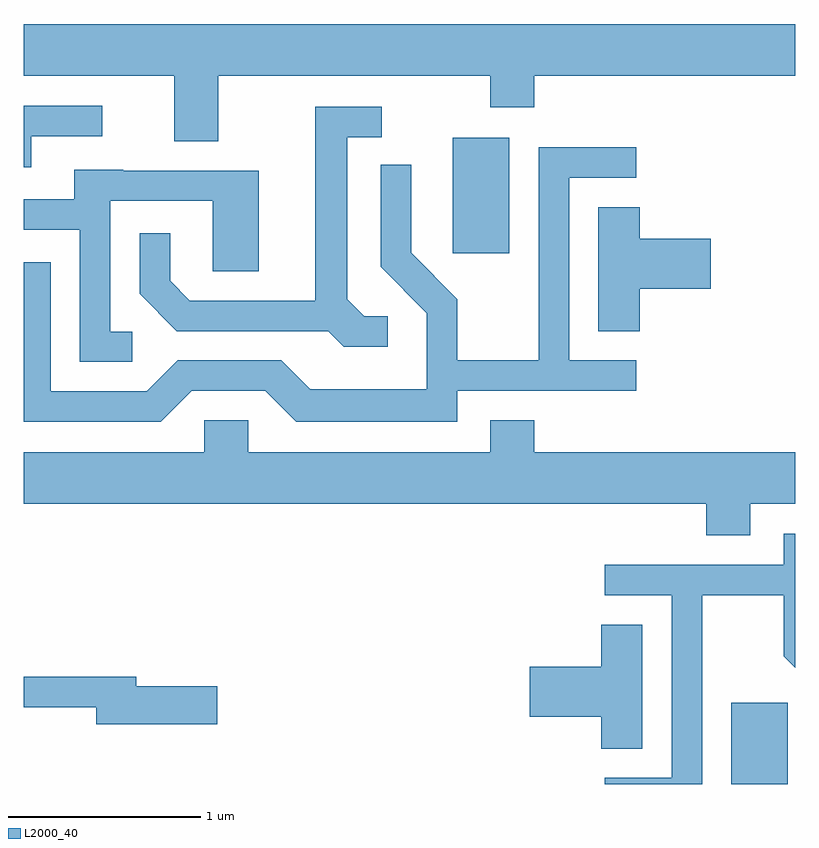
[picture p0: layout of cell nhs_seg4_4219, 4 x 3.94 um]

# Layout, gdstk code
import gdstk
lib = gdstk.Library(unit=1e-6, precision=1e-09)
def R(c, l, rs):  # rectangles x0, y0, x1, y1
    for r in rs: c.add(gdstk.rectangle(r[:2], r[2:], *l))
def P(c, l, *ps):  # polygons
    for p in ps: c.add(gdstk.Polygon(p, *l))
L2000_40 = (2000, 40)

nhs_seg4_4219 = lib.new_cell('nhs_seg4_4219')
R(nhs_seg4_4219, L2000_40, [(313.281,1259.982,313.574,1260.404), (311.836,1262.736,312.129,1263.334)])
P(nhs_seg4_4219, L2000_40, [(310.619,1263.656),(312.031,1263.656),(312.031,1263.491),(312.259,1263.491),(312.259,1263.656),(313.611,1263.656),(313.611,1263.924),(309.611,1263.924),(309.611,1263.656),(310.391,1263.656),(310.391,1263.316),(310.619,1263.316)],
  [(309.649,1263.341),(310.018,1263.341),(310.018,1263.499),(309.611,1263.499),(309.611,1263.181),(309.649,1263.181)],
  [(311.498,1262.409),(311.377,1262.409),(311.289,1262.497),(311.289,1263.336),(311.468,1263.336),(311.468,1263.494),(311.121,1263.494),(311.121,1262.489),(310.472,1262.489),(310.369,1262.592),(310.369,1262.838),(310.211,1262.838),(310.211,1262.524),(310.404,1262.331),(311.189,1262.331),(311.269,1262.251),(311.498,1262.251)],
  [(310.482,1262.021),(310.864,1262.021),(311.024,1261.861),(311.859,1261.861),(311.859,1262.021),(312.788,1262.021),(312.788,1262.179),(312.439,1262.179),(312.439,1263.126),(312.788,1263.126),(312.788,1263.284),(312.281,1263.284),(312.281,1262.179),(311.859,1262.179),(311.859,1262.497),(311.619,1262.737),(311.619,1263.193),(311.461,1263.193),(311.461,1262.664),(311.701,1262.424),(311.701,1262.029),(311.097,1262.029),(310.947,1262.179),(310.409,1262.179),(310.249,1262.019),(309.749,1262.019),(309.749,1262.689),(309.611,1262.689),(309.611,1261.861),(310.322,1261.861)],
  [(310.173,1262.329),(310.059,1262.329),(310.059,1263.006),(310.591,1263.006),(310.591,1262.641),(310.829,1262.641),(310.829,1263.164),(310.125,1263.164),(310.125,1263.169),(309.871,1263.169),(309.871,1263.014),(309.611,1263.014),(309.611,1262.856),(309.901,1262.856),(309.901,1262.171),(310.173,1262.171)],
  [(312.804,1262.551),(313.174,1262.551),(313.174,1262.809),(312.804,1262.809),(312.804,1262.974),(312.591,1262.974),(312.591,1262.331),(312.804,1262.331)],
  [(313.379,1261.436),(313.611,1261.436),(313.611,1261.704),(312.259,1261.704),(312.259,1261.869),(312.031,1261.869),(312.031,1261.704),(310.774,1261.704),(310.774,1261.869),(310.546,1261.869),(310.546,1261.704),(309.611,1261.704),(309.611,1261.436),(313.151,1261.436),(313.151,1261.271),(313.379,1261.271)],
  [(313.129,1260.961),(313.551,1260.961),(313.551,1260.644),(313.611,1260.584),(313.611,1261.279),(313.551,1261.279),(313.551,1261.119),(312.623,1261.119),(312.623,1260.961),(312.971,1260.961),(312.971,1260.014),(312.623,1260.014),(312.623,1259.982),(313.129,1259.982)],
  [(312.819,1260.809),(312.606,1260.809),(312.606,1260.589),(312.236,1260.589),(312.236,1260.331),(312.606,1260.331),(312.606,1260.166),(312.819,1260.166)],
  [(310.614,1260.489),(310.194,1260.489),(310.194,1260.539),(309.611,1260.539),(309.611,1260.381),(309.986,1260.381),(309.986,1260.291),(310.614,1260.291)])

lib.write_gds('nhs_seg4_4219.gds')
